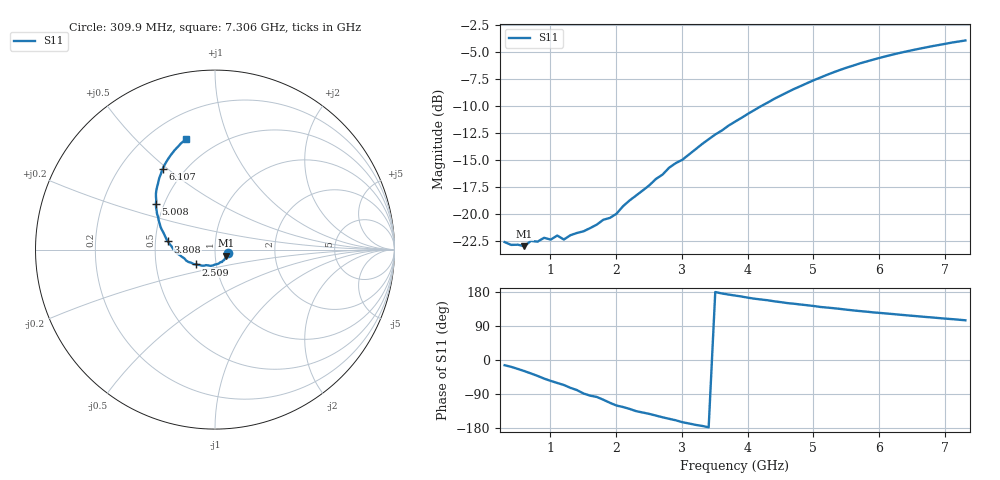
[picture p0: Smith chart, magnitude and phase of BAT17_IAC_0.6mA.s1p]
! Infineon Technologies  Discrete & RF Semiconductors
! BAT17
! IAC = 0.6 mA
! One-Port S-Parameters
# Hz  S  MA  R  50
!f  S11
!Hz  Mag  Ang
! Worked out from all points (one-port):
!   71 points, 309.9 MHz to 7.306 GHz, reference 50 ohm
!   lowest |S11| = -23.0 dB at 609.7 MHz (marker M1), VSWR 1.15, Z = 56.4 - j3.93 ohm
!   |S11| at or under -10 dB: start of sweep to 4.213 GHz
!   S11 on the Smith chart (normalised r, x): 309.9 MHz: 1.15, -0.04; 2.509 GHz: 0.80, -0.13; 3.808 GHz: 0.58, +0.06; 5.008 GHz: 0.45, +0.28; 6.107 GHz: 0.38, +0.48; 7.306 GHz: 0.35, +0.71
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3.0985e8  0.07395 -13.8
4.098e8  0.07175 -18.1
6.097e8  0.07079 -29.3
7.0965e8  0.07491 -35.5
8.096e8  0.07428 -41.9
9.0955e8  0.07742 -49.1
1.0095e9  0.07594 -55.1
1.10945e9  0.07927 -60.6
1.2094e9  0.07599 -66.0
1.30935e9  0.07957 -73.4
1.50925e9  0.08298 -88.5
1.70915e9  0.08907 -97.5
1.8091e9  0.09384 -104.9
1.90905e9  0.09569 -113.0
2.009e9  0.1001 -120.2
2.10895e9  0.1085 -124.1
2.50875e9  0.1356 -142.3
2.8086e9  0.1636 -155.2
3.0085e9  0.1779 -164.2
3.30835e9  0.2104 -174.0
3.8081e9  0.267 170.2
4.30785e9  0.3278 157.6
4.70765e9  0.3789 148.4
5.0075e9  0.4159 142.4
5.6072e9  0.4862 130.8
6.10695e9  0.5373 122.8
6.50675e9  0.5731 116.5
7.30635e9  0.6351 104.8
